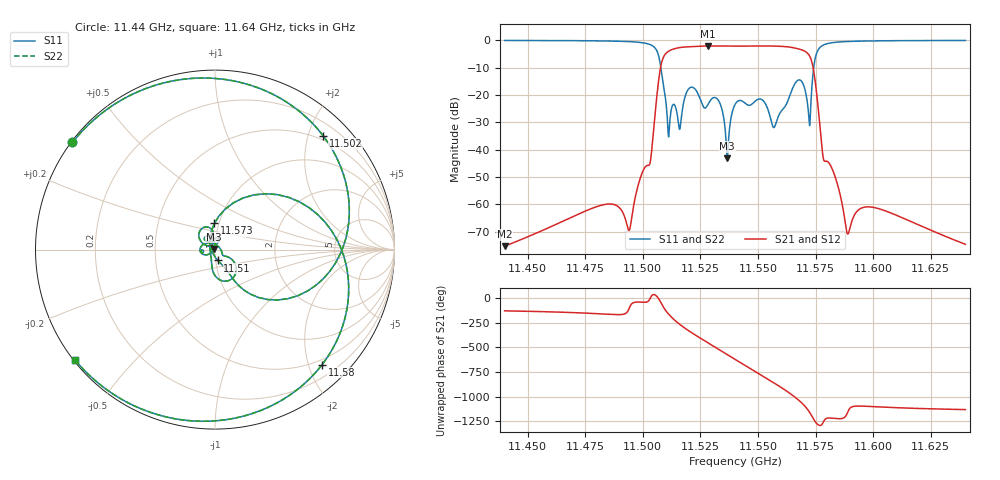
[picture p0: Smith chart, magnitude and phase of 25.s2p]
! This file was generated by CST Filter Designer 3D
! Date:  06.11.2025 15:51:31
# MHZ S RI R 50
!  Frequency  Re(S11)  Im(S11)  Re(S21)  Im(S21)  Re(S12)  Im(S12)  Re(S22)  Im(S22)
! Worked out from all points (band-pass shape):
!   1001 points, 11.44 GHz to 11.64 GHz, reference 50 ohm
!   highest |S21| = -2.08 dB at 11.528 GHz (marker M1); lowest = -75.4 dB at 11.44 GHz (marker M2)
!   |S21| within 3 dB of the highest: 11.51 GHz to 11.572 GHz (62.1 MHz wide, 0.538 % of centre)
!   lowest |S11| = -43.2 dB at 11.537 GHz (marker M3), VSWR 1.01, Z = 49.4 + j0.371 ohm
!   |S11| at or under -10 dB: 11.508 GHz to 11.574 GHz (66.35 MHz wide, 0.575 % of centre)
!   |S22| runs from -43.2 to -0.1 dB; largest |S21 - S12| = 0
!   S11 on the Smith chart (normalised r, x): 11.44 GHz: 0.00, +0.33; 11.502 GHz: 0.42, +2.27; 11.51 GHz: 1.02, -0.12; 11.573 GHz: 0.95, +0.29; 11.58 GHz: 0.41, -2.23; 11.64 GHz: 0.00, -0.35
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11440  -0.7942 0.5967  -0.000107 -0.000133  -0.000107 -0.000133  -0.7942 0.5967
11473.4  -0.5175 0.8355  -0.000606 -0.000348  -0.000606 -0.000348  -0.5175 0.8355
11494  0.0921 0.942  -9.84e-05 -0.000312  -9.84e-05 -0.000312  0.0921 0.942
11501.6  0.6035 0.6328  0.00388 -0.00325  0.00388 -0.00325  0.6035 0.6328
11506.8  0.4628 -0.2563  0.1758 -0.0107  0.1758 -0.0107  0.4628 -0.2563
11510.2  0.0155 -0.0602  -0.4077 -0.4196  -0.4077 -0.4196  0.0155 -0.0602
11516.8  -0.0359 0.0201  0.1275 0.7328  0.1275 0.7328  -0.0359 0.0201
11522.2  -0.044 0.126  0.7672 -0.0736  0.7672 -0.0736  -0.044 0.126
11528.2  -0.0465 0.0473  -0.0287 -0.7861  -0.0287 -0.7861  -0.0465 0.0473
11533  -0.0266 0.0721  -0.7372 -0.2712  -0.7372 -0.2712  -0.0266 0.0721
11536.6  -0.00584 0.00375  -0.6734 0.4054  -0.6734 0.4054  -0.00584 0.00375
11540  -0.0602 -0.0283  -0.1391 0.7715  -0.1391 0.7715  -0.0602 -0.0283
11546.6  -0.0639 -0.0116  0.782 0.0824  0.782 0.0824  -0.0639 -0.0116
11552.8  -0.0688 0.0259  0.1194 -0.7773  0.1194 -0.7773  -0.0688 0.0259
11559.2  0.0396 -0.0191  -0.7722 -0.096  -0.7722 -0.096  0.0396 -0.0191
11564.8  0.1058 -0.0683  -0.107 0.7314  -0.107 0.7314  0.1058 -0.0683
11569.4  0.0181 -0.1634  0.6504 0.0963  0.6504 0.0963  0.0181 -0.1634
11573.4  -0.00292 0.1466  -0.177 -0.3516  -0.177 -0.3516  -0.00292 0.1466
11580.4  0.5966 -0.6411  -0.00421 -0.00418  -0.00421 -0.00418  0.5966 -0.6411
11589  0.0424 -0.95  9.6e-05 -0.000267  9.6e-05 -0.000267  0.0424 -0.95
11606.8  -0.4818 -0.8549  0.000635 -0.000327  0.000635 -0.000327  -0.4818 -0.8549
11640  -0.781 -0.6132  0.000119 -0.000141  0.000119 -0.000141  -0.781 -0.6132
